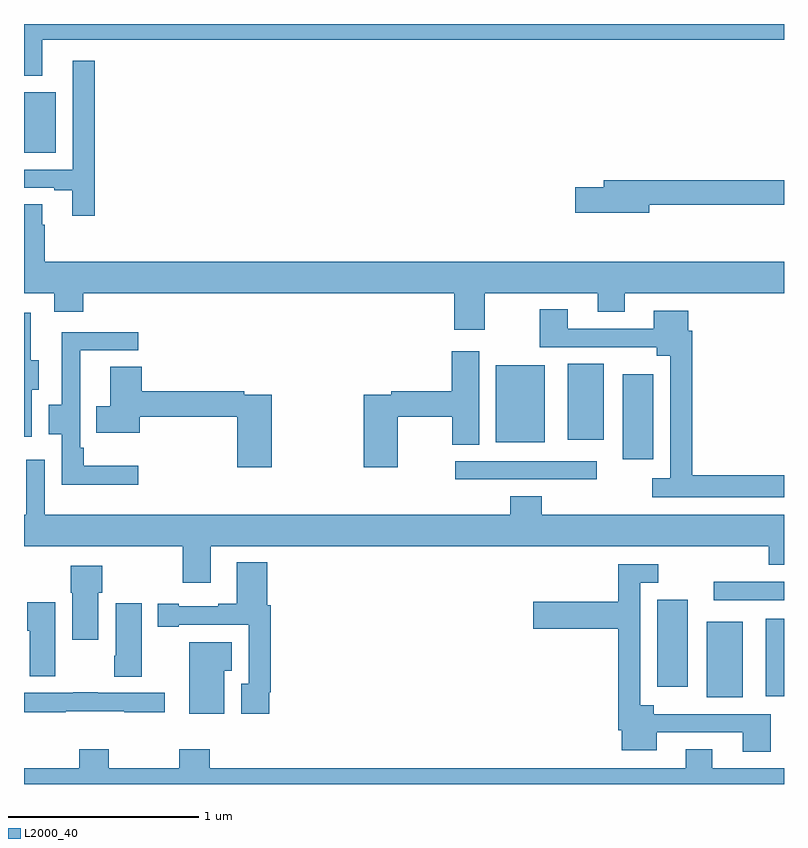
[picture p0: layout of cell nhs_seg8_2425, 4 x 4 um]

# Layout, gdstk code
import gdstk
lib = gdstk.Library(unit=1e-6, precision=1e-09)
def R(c, l, rs):  # rectangles x0, y0, x1, y1
    for r in rs: c.add(gdstk.rectangle(r[:2], r[2:], *l))
def P(c, l, *ps):  # polygons
    for p in ps: c.add(gdstk.Polygon(p, *l))
L2000_40 = (2000, 40)

nhs_seg8_2425 = lib.new_cell('nhs_seg8_2425')
R(nhs_seg8_2425, L2000_40, [(266.594,1130.357,266.782,1130.755), (266.903,1130.363,267,1130.77), (266.333,1130.412,266.494,1130.869), (266.631,1130.868,267,1130.964), (265.269,1131.504,266.014,1131.6), (266.15,1131.609,266.311,1132.057), (265.484,1131.698,265.741,1132.105), (265.862,1131.713,266.05,1132.111), (263,1133.222,263.167,1133.542)])
P(nhs_seg8_2425, L2000_40, [(263.095,1133.816),(267,1133.816),(267,1133.9),(263,1133.9),(263,1133.627),(263.095,1133.627)],
  [(263.372,1133.707),(263.256,1133.707),(263.256,1133.133),(263,1133.133),(263,1133.037),(263.159,1133.037),(263.159,1133.025),(263.255,1133.025),(263.255,1132.89),(263.372,1132.89)],
  [(266.29,1132.95),(267,1132.95),(267,1133.078),(266.051,1133.078),(266.051,1133.042),(265.902,1133.042),(265.902,1132.907),(266.29,1132.907)],
  [(265.425,1132.484),(266.021,1132.484),(266.021,1132.385),(266.161,1132.385),(266.161,1132.484),(267,1132.484),(267,1132.648),(263.108,1132.648),(263.108,1132.844),(263.095,1132.844),(263.095,1132.952),(263,1132.952),(263,1132.484),(263.159,1132.484),(263.159,1132.385),(263.312,1132.385),(263.312,1132.484),(265.265,1132.484),(265.265,1132.29),(265.425,1132.29)],
  [(267,1131.524),(266.516,1131.524),(266.516,1132.286),(266.497,1132.286),(266.497,1132.39),(266.315,1132.39),(266.315,1132.296),(265.861,1132.296),(265.861,1132.399),(265.714,1132.399),(265.714,1132.2),(266.33,1132.2),(266.33,1132.154),(266.4,1132.154),(266.4,1131.508),(266.307,1131.508),(266.307,1131.408),(267,1131.408)],
  [(263.04,1131.976),(263.077,1131.976),(263.077,1132.131),(263.035,1132.131),(263.035,1132.381),(263,1132.381),(263,1131.728),(263.04,1131.728)],
  [(263.602,1131.574),(263.315,1131.574),(263.315,1131.67),(263.295,1131.67),(263.295,1131.985),(263.296,1131.985),(263.296,1132.182),(263.602,1132.182),(263.602,1132.278),(263.199,1132.278),(263.199,1131.897),(263.129,1131.897),(263.129,1131.742),(263.199,1131.742),(263.199,1131.476),(263.602,1131.476)],
  [(264.966,1131.832),(265.255,1131.832),(265.255,1131.685),(265.396,1131.685),(265.396,1132.177),(265.25,1132.177),(265.25,1131.968),(264.934,1131.968),(264.934,1131.948),(264.788,1131.948),(264.788,1131.567),(264.966,1131.567)],
  [(264.305,1131.948),(264.158,1131.948),(264.158,1131.968),(263.621,1131.968),(263.621,1132.097),(263.453,1132.097),(263.453,1131.889),(263.38,1131.889),(263.38,1131.749),(263.608,1131.749),(263.608,1131.832),(264.122,1131.832),(264.122,1131.567),(264.305,1131.567)],
  [(263.983,1131.152),(266.921,1131.152),(266.921,1131.053),(267,1131.053),(267,1131.316),(265.724,1131.316),(265.724,1131.415),(265.559,1131.415),(265.559,1131.316),(263.109,1131.316),(263.109,1131.607),(263.013,1131.607),(263.013,1131.316),(263,1131.316),(263,1131.152),(263.836,1131.152),(263.836,1130.958),(263.983,1130.958)],
  [(264.292,1130.383),(264.299,1130.383),(264.299,1130.842),(264.28,1130.842),(264.28,1131.067),(264.119,1131.067),(264.119,1130.848),(264.023,1130.848),(264.023,1130.835),(263.815,1130.835),(263.815,1130.848),(263.705,1130.848),(263.705,1130.727),(263.815,1130.727),(263.815,1130.739),(264.183,1130.739),(264.183,1130.427),(264.143,1130.427),(264.143,1130.271),(264.292,1130.271)],
  [(266.931,1130.268),(266.314,1130.268),(266.314,1130.314),(266.244,1130.314),(266.244,1130.96),(266.338,1130.96),(266.338,1131.057),(266.128,1131.057),(266.128,1130.859),(265.68,1130.859),(265.68,1130.717),(266.128,1130.717),(266.128,1130.182),(266.147,1130.182),(266.147,1130.078),(266.329,1130.078),(266.329,1130.172),(266.783,1130.172),(266.783,1130.07),(266.931,1130.07)],
  [(263.392,1130.907),(263.412,1130.907),(263.412,1131.049),(263.246,1131.049),(263.246,1130.907),(263.255,1130.907),(263.255,1130.658),(263.392,1130.658)],
  [(263.164,1130.857),(263.018,1130.857),(263.018,1130.706),(263.03,1130.706),(263.03,1130.468),(263.164,1130.468)],
  [(263.62,1130.851),(263.483,1130.851),(263.483,1130.575),(263.476,1130.575),(263.476,1130.464),(263.62,1130.464)],
  [(264.055,1130.495),(264.094,1130.495),(264.094,1130.647),(263.87,1130.647),(263.87,1130.27),(264.055,1130.27)],
  [(263.221,1130.282),(263.527,1130.282),(263.527,1130.278),(263.74,1130.278),(263.74,1130.379),(263.387,1130.379),(263.387,1130.384),(263.26,1130.384),(263.26,1130.379),(263,1130.379),(263,1130.278),(263.221,1130.278)],
  [(267,1129.984),(266.623,1129.984),(266.623,1130.083),(266.483,1130.083),(266.483,1129.984),(263.978,1129.984),(263.978,1130.083),(263.818,1130.083),(263.818,1129.984),(263.445,1129.984),(263.445,1130.083),(263.29,1130.083),(263.29,1129.984),(263,1129.984),(263,1129.9),(267,1129.9)])

lib.write_gds('nhs_seg8_2425.gds')
